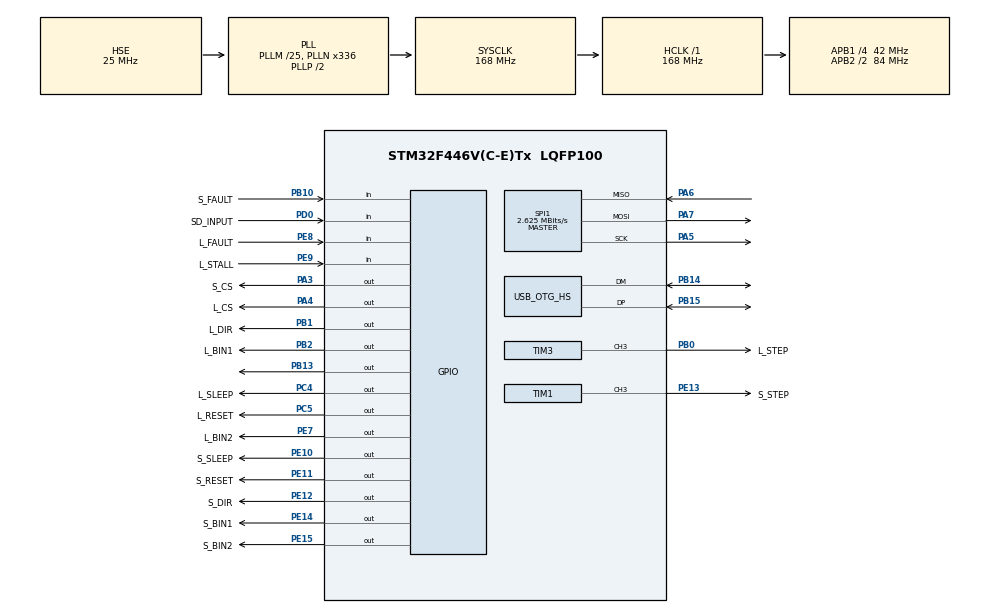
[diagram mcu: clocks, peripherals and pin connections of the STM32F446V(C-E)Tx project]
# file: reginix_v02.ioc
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FATFS._CODE_PAGE=437
FATFS._MAX_SS=4096
FATFS._USE_LFN=3
Mcu.Family=STM32F4
Mcu.Name=STM32F446V(C-E)Tx
Mcu.Package=LQFP100
NVIC.OTG_HS_IRQn=true\:0\:0\:false\:false\:true\:true\:true\:true
NVIC.PriorityGroup=NVIC_PRIORITYGROUP_4
NVIC.TIM3_IRQn=true\:0\:0\:false\:false\:true\:true\:true\:true
PA13.Mode=Serial_Wire
PA13.Signal=SYS_JTMS-SWDIO
PA14.Mode=Serial_Wire
PA14.Signal=SYS_JTCK-SWCLK
PA3.GPIO_Label=S_CS
PA3.GPIO_PuPd=GPIO_PULLUP
PA3.Signal=GPIO_Output
PA4.GPIO_Label=L_CS
PA4.GPIO_PuPd=GPIO_PULLUP
PA4.GPIO_Speed=GPIO_SPEED_FREQ_VERY_HIGH
PA4.PinState=GPIO_PIN_RESET
PA4.Signal=GPIO_Output
PA5.Mode=Full_Duplex_Master
PA5.Signal=SPI1_SCK
PA6.GPIO_PuPd=GPIO_PULLUP
PA6.Mode=Full_Duplex_Master
PA6.Signal=SPI1_MISO
PA7.GPIO_PuPd=GPIO_PULLUP
PA7.Mode=Full_Duplex_Master
PA7.Signal=SPI1_MOSI
PB0.GPIO_Label=L_STEP
PB0.Signal=S_TIM3_CH3
PB1.GPIO_Label=L_DIR
PB1.Signal=GPIO_Output
PB10.GPIO_Label=S_FAULT
PB10.Signal=GPIO_Input
PB13.Signal=GPIO_Output
PB14.Mode=Host_FS
PB14.Signal=USB_OTG_HS_DM
PB15.Mode=Host_FS
PB15.Signal=USB_OTG_HS_DP
PB2.GPIO_Label=L_BIN1
PB2.Signal=GPIO_Output
PC14-OSC32_IN.Mode=LSE-External-Oscillator
PC14-OSC32_IN.Signal=RCC_OSC32_IN
PC15-OSC32_OUT.Mode=LSE-External-Oscillator
PC15-OSC32_OUT.Signal=RCC_OSC32_OUT
PC4.GPIO_Label=L_SLEEP
PC4.GPIO_PuPd=GPIO_PULLUP
PC4.Signal=GPIO_Output
PC5.GPIO_Label=L_RESET
PC5.GPIO_PuPd=GPIO_PULLUP
PC5.Signal=GPIO_Output
PD0.GPIO_Label=SD_INPUT
PD0.Signal=GPIO_Input
PE10.GPIO_Label=S_SLEEP
PE10.Signal=GPIO_Output
PE11.GPIO_Label=S_RESET
PE11.Signal=GPIO_Output
PE12.GPIO_Label=S_DIR
PE12.Signal=GPIO_Output
PE13.GPIO_Label=S_STEP
PE13.Signal=S_TIM1_CH3
PE14.GPIO_Label=S_BIN1
PE14.Signal=GPIO_Output
PE15.GPIO_Label=S_BIN2
PE15.Signal=GPIO_Output
PE7.GPIO_Label=L_BIN2
PE7.Signal=GPIO_Output
PE8.GPIO_Label=L_FAULT
PE8.GPIO_PuPd=GPIO_PULLUP
PE8.Signal=GPIO_Input
PE9.GPIO_Label=L_STALL
PE9.Signal=GPIO_Input
PH0-OSC_IN.Mode=HSE-External-Oscillator
PH0-OSC_IN.Signal=RCC_OSC_IN
PH1-OSC_OUT.Mode=HSE-External-Oscillator
PH1-OSC_OUT.Signal=RCC_OSC_OUT
ProjectManager.HeapSize=0x2000
ProjectManager.StackSize=0x4000
ProjectManager.TargetToolchain=STM32CubeIDE
RCC.AHBFreq_Value=168000000
RCC.APB1CLKDivider=RCC_HCLK_DIV4
RCC.APB1Freq_Value=42000000
RCC.APB1TimFreq_Value=84000000
RCC.APB2CLKDivider=RCC_HCLK_DIV2
RCC.APB2Freq_Value=84000000
RCC.APB2TimFreq_Value=168000000
RCC.CortexFreq_Value=168000000
RCC.HCLKFreq_Value=168000000
RCC.PLLM=25
RCC.PLLN=336
RCC.PLLQ=7
RCC.PLLSourceVirtual=RCC_PLLSOURCE_HSE
RCC.RCC_RTC_Clock_SourceVirtual=RCC_RTCCLKSOURCE_LSE
RCC.SYSCLKFreq_VALUE=168000000
RCC.SYSCLKSource=RCC_SYSCLKSOURCE_PLLCLK
RCC.USBFreq_Value=48000000
RCC.VCOOutputFreq_Value=336000000
RTC.HourFormat=RTC_HOURFORMAT_12
SH.S_TIM1_CH3.0=TIM1_CH3,PWM Generation3 CH3
SH.S_TIM3_CH3.0=TIM3_CH3,PWM Generation3 CH3
SPI1.BaudRatePrescaler=SPI_BAUDRATEPRESCALER_32
SPI1.CalculateBaudRate=2.625 MBits/s
SPI1.Direction=SPI_DIRECTION_2LINES
SPI1.Mode=SPI_MODE_MASTER
SPI1.VirtualType=VM_MASTER
TIM1.Channel-PWM\ Generation3\ CH3=TIM_CHANNEL_3
TIM1.Period=1000-1
TIM1.Prescaler=60-1
TIM3.AutoReloadPreload=TIM_AUTORELOAD_PRELOAD_ENABLE
TIM3.Channel-PWM\ Generation3\ CH3=TIM_CHANNEL_3
TIM3.Period=999
TIM3.Prescaler=83
TIM3.TIM_MasterOutputTrigger=TIM_TRGO_UPDATE
USB_HOST.BSP.number=1
USB_HOST.USBH_HandleTypeDef-MSC_HS=hUsbHostHS
USB_HOST.USBH_MAX_DATA_BUFFER-MSC_HS=4096
USB_HOST.VirtualModeHS=Msc
USB_HOST0.BSP.STBoard=false
USB_HOST0.BSP.api=Unknown
USB_HOST0.BSP.condition=SW_VBUS_DRIVE_MSC_HS \= false
USB_HOST0.BSP.instance=PB13
USB_HOST0.BSP.ip=GPIO
USB_HOST0.BSP.mode=Output
USB_HOST0.BSP.name=Drive_VBUS_HS
USB_HOST0.BSP.solution=PB13
USB_OTG_HS.VirtualMode-Host_FS=Host_FS
VP_FATFS_VS_USB.Mode=USB
VP_RTC_VS_RTC_Activate.Mode=RTC_Enabled
VP_TIM3_VS_ClockSourceINT.Mode=Internal
VP_TIM6_VS_ClockSourceINT.Mode=Enable_Timer
VP_USB_HOST_VS_USB_HOST_MSC_HS.Mode=MSC_HS
board=custom

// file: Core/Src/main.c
/* USER CODE BEGIN Header */
///**
// ******************************************************************************
// * @file           : main.c
// * @brief          : Main program body
// ******************************************************************************
// * @attention
// *
// * Copyright (c) 2026 STMicroelectronics.
// * All rights reserved.
// *
// * This software is licensed under terms that can be found in the LICENSE file
// * in the root directory of this software component.
// * If no LICENSE file comes with this software, it is provided AS-IS.
// *
// ******************************************************************************
// */
/* USER CODE END Header */
#include "main.h"
#include "fatfs.h"
#include "rtc.h"
#include "spi.h"
#include "tim.h"
#include "usb_host.h"
#include "gpio.h"

/* USER CODE BEGIN Includes */
#include "mDRV_Config.h"
//#include "usb_log.h"
/* USER CODE END Includes */

/* USER CODE BEGIN PTD */
//
/* USER CODE END PTD */

/* USER CODE BEGIN PD */
//
/* USER CODE END PD */

/* USER CODE BEGIN PM */
//#define DRV_CS_LOW()   HAL_GPIO_WritePin(L_CS_GPIO_Port, L_CS_Pin, GPIO_PIN_RESET)
//#define DRV_CS_HIGH()  HAL_GPIO_WritePin(L_CS_GPIO_Port, L_CS_Pin, GPIO_PIN_SET)
/* USER CODE END PM */

/* USER CODE BEGIN PV */
//uint8_t txBuf[2];
//uint8_t rxBuf[2];
//
////uint8_t tx[2];
////   uint8_t rx[2];
//
//uint16_t tx;
//uint16_t rx;
//
//GPIO_PinState fault_state;
ApplicationTypeDef ret;
extern ApplicationTypeDef Appli_state;
//HAL_StatusTypeDef i2c_status;
////uint8_t tx[2] = {0x00,0x00};
//
//uint32_t spi_error;
//uint32_t count = 0;
//GPIO_PinState sleep_state;
//GPIO_PinState reset_state;
//GPIO_PinState cs_state;
//uint16_t duty = 0;
//uint8_t tx_data[3];
//uint8_t mem_addr[2] = {0x00, 0x00};
//uint8_t read_data = 0;
//uint8_t limit_reached=0;
//RTC_TimeTypeDef getTime;
//RTC_DateTypeDef getDate;
//uint8_t rtc_sec;
//uint8_t usb_rx_buffer[64];
//char usb_string[64];
//uint32_t usb_rx_length;
uint8_t fault_state;
uint16_t ctrl_reg,status_reg;
uint16_t status_value = 0;
uint16_t ctrl_value = 0;
uint8_t motor_running = 0;
//
uint8_t drv_status;
uint8_t drv_cont;

uint16_t ctrl_readback;
uint8_t stattt=0;
uint8_t enbl, rdir, rstep, mode, exstall, isgain, dtime;
uint32_t fre;
volatile uint32_t debug_tim3_psc;
volatile uint32_t debug_tim3_arr;
volatile uint32_t debug_tim3_ccr3;
volatile uint32_t debug_tim3_cnt;

volatile uint32_t debug_pclk1;
volatile uint32_t debug_sysclk;

 uint8_t sd_ins;
//uint8_t spi_buf_rx[3]={0};
//uint16_t dataOut;
// volatile uint16_t test_write_val = 0x0FF;
//  volatile uint16_t test_read_val  = 0;
//  volatile uint8_t  spi_test_pass  = 0;
/* USER CODE END PV */

void SystemClock_Config(void);
void MX_USB_HOST_Process(void);

/* USER CODE BEGIN PFP */
//
/* USER CODE END PFP */

/* USER CODE BEGIN 0 */
void delay_us(uint16_t us)
{
	__HAL_TIM_SET_COUNTER(&htim6, 0);

	while (__HAL_TIM_GET_COUNTER(&htim6) < us);
}

#define TIM3_CLK 60000000UL
void Stepper_SetFrequency_L(uint32_t freq)
{
    uint32_t timer_clk = 84000000UL;
    uint32_t counter_clk;
    uint32_t arr;

    if (freq == 0)
    {
        TIM3->CCR3 = 0;
        return;
    }

    counter_clk = timer_clk / (TIM3->PSC + 1);

    arr = (counter_clk / freq) - 1;

    if (arr > 0xFFFF)
        arr = 0xFFFF;

    if (arr < 1)
        arr = 1;

    TIM3->ARR = arr;

    TIM3->CCR3 = (arr + 1) / 2;

    TIM3->CNT = 0;

    TIM3->EGR = TIM_EGR_UG;
}
void Stepper_SetFrequency_S(uint32_t freq)
{
	uint32_t arr;

	if (freq == 0)
	{
		TIM1->CCR3 = 0;
		return;
	}

	// TIM1 on APB2 → 84 MHz
	arr = (84000UL / freq) - 1;

	if (arr > 0xFFFF) arr = 0xFFFF;
	if (arr < 1) arr = 1;

	TIM1->ARR  = arr;
	TIM1->CCR3 = (arr + 1) / 2;   // 50% duty
	TIM1->CNT  = 0;

	TIM1->EGR = TIM_EGR_UG;
}
//void Stepper_SetFrequency_S(uint32_t frequency)
//{
//    uint32_t period;
//
//    if (frequency == 0)
//        return;
//
//    period = 1000000UL / frequency;
//
//    __HAL_TIM_SET_AUTORELOAD(&htim3, period - 1);
//
//    __HAL_TIM_SET_COMPARE(&htim3,
//                          TIM_CHANNEL_3,
//                          period / 2);
//
//    __HAL_TIM_SET_COUNTER(&htim3, 0);
//}
#define STEPS_PER_REV 1600

void SetRPM(uint16_t rpm)
{
	uint32_t freq;

	freq = ((uint32_t)rpm * STEPS_PER_REV) / 60;

	Stepper_SetFrequency(freq);
}
//// Add this function to your main.c (replace the existing one)
void DRV8711_WriteReg(uint8_t reg, uint16_t data,uint8_t stepper)
{
	uint16_t cmd;
	uint8_t tx[2];
	GPIO_TypeDef* port;
	uint16_t pin;
	cmd = ((reg & 0x07) << 12) | (data & 0x0FFF);

	tx[0] = (cmd >> 8) & 0xFF;
	tx[1] = cmd & 0xFF;

	switch(stepper){
	case 0:
	port=L_CS_GPIO_Port;
	 pin =L_CS_Pin;
	 break;
	case 1:
		 port=S_CS_GPIO_Port;
		 pin =S_CS_Pin;
    break;
	}
	HAL_GPIO_WritePin(port, pin, GPIO_PIN_SET);
	HAL_Delay(1);

	HAL_SPI_Transmit(&hspi1, tx, 2, 100);
	HAL_Delay(1);
	HAL_GPIO_WritePin(port, pin, GPIO_PIN_RESET);
}
uint16_t DRV8711_ReadReg(uint8_t reg,uint8_t stepper)
{
	uint16_t cmd;
	uint16_t data;
	uint8_t tx[2];
	uint8_t rx[2];
	GPIO_TypeDef* port;
	uint16_t pin;
	cmd = 0x8000 | ((reg & 0x07) << 12);

	tx[0] = (cmd >> 8) & 0xFF;
	tx[1] = cmd & 0xFF;
	switch(stepper){
		case 0:
		port=L_CS_GPIO_Port;
		 pin =L_CS_Pin;
		 break;
		case 1:
			 port=S_CS_GPIO_Port;
			 pin =S_CS_Pin;
	    break;
		}
	HAL_GPIO_WritePin(port, pin, GPIO_PIN_SET);

	HAL_SPI_TransmitReceive(&hspi1, tx, rx, 2, 100);

	HAL_GPIO_WritePin(port, pin, GPIO_PIN_RESET);

	data = ((uint16_t)rx[0] << 8) | rx[1];

	return (data & 0x0FFF);
}

uint16_t ctrl,stall;
uint32_t freq;
uint32_t curr;

volatile uint8_t sd_raw = 99;
volatile uint32_t sd_count = 0;
/* USER CODE END 0 */

int main(void)
{

  /* USER CODE BEGIN 1 */
	//
  /* USER CODE END 1 */

  /* MCU Configuration--------------------------------------------------------*/

  /* Reset of all peripherals, Initializes the Flash interface and the Systick. */
  HAL_Init();

  /* USER CODE BEGIN Init */
	//
	//
  /* USER CODE END Init */

  /* Configure the system clock */
  SystemClock_Config();

  /* USER CODE BEGIN SysInit */
	//
  /* USER CODE END SysInit */

  /* Initialize all configured peripherals */
  MX_GPIO_Init();
  MX_TIM6_Init();
  MX_RTC_Init();
  MX_FATFS_Init();
  MX_USB_HOST_Init();
  MX_SPI1_Init();
  MX_TIM3_Init();
  MX_TIM1_Init();
  /* USER CODE BEGIN 2 */

//	HAL_TIM_Base_Start(&htim6);
//	HAL_GPIO_WritePin(L_RESET_GPIO_Port, L_RESET_Pin, GPIO_PIN_RESET);
//	HAL_GPIO_WritePin(L_SLEEP_GPIO_Port, L_SLEEP_Pin, GPIO_PIN_SET);
//
//	HAL_GPIO_WritePin(S_RESET_GPIO_Port, S_RESET_Pin, GPIO_PIN_RESET);
//	HAL_GPIO_WritePin(S_SLEEP_GPIO_Port, S_SLEEP_Pin, GPIO_PIN_SET);
//
//	HAL_TIM_PWM_Start(&htim3,TIM_CHANNEL_3 );
//	HAL_TIM_PWM_Start(&htim1,TIM_CHANNEL_3 );
//
//
//	HAL_GPIO_WritePin(L_SLEEP_GPIO_Port, L_SLEEP_Pin, GPIO_PIN_RESET);
//	HAL_Delay(1000);
//
//	DRV8711_WriteReg(0x00, 0x0C29,0);
//	DRV8711_WriteReg(0x01, 0x0743,0);//current
//	DRV8711_WriteReg(0x02, 0x00C8,0);
//	DRV8711_WriteReg(0x03, 0x0128,0);
//	DRV8711_WriteReg(0x04, 0x0510,0);
//	DRV8711_WriteReg(0x05, 0x000A,0);
//	DRV8711_WriteReg(0x06, 0x0BAA,0);
//	DRV8711_WriteReg(0x07,0x00,0);
//
//	HAL_GPIO_WritePin(L_SLEEP_GPIO_Port, L_SLEEP_Pin, GPIO_PIN_SET);
//	HAL_Delay(1000);
//	DRV8711_WriteReg(0x07,0x00,0);
//
//
//	HAL_Delay(500);
//
//	HAL_GPIO_WritePin(S_SLEEP_GPIO_Port, S_SLEEP_Pin, GPIO_PIN_RESET);
//	HAL_Delay(1000);
//
//	DRV8711_WriteReg(0x00, 0x0C29,1);
//	DRV8711_WriteReg(0x01, 0x070A,1);//current
//	DRV8711_WriteReg(0x02, 0x00C8,1);
//	DRV8711_WriteReg(0x03, 0x0128,1);
//	DRV8711_WriteReg(0x04, 0x0510,1);
//	DRV8711_WriteReg(0x05, 0x000A,1);
//	DRV8711_WriteReg(0x06, 0x0BAA,1);
//	DRV8711_WriteReg(0x07,0x00,1);
//
//	HAL_GPIO_WritePin(S_SLEEP_GPIO_Port, S_SLEEP_Pin, GPIO_PIN_SET);
//	HAL_Delay(1000);
//	DRV8711_WriteReg(0x07,0x00,1);
//	HAL_TIM_PWM_Start(&htim3, TIM_CHANNEL_3);
//
//	Stepper_SetFrequency_L(3200);
//
//	debug_tim3_psc  = TIM3->PSC;
//	debug_tim3_arr  = TIM3->ARR;
//	debug_tim3_ccr3 = TIM3->CCR3;
//	debug_tim3_cnt  = TIM3->CNT;
//

  /* USER CODE END 2 */

  /* Infinite loop */
  /* USER CODE BEGIN WHILE */
	//
	while (1)
	{

//		for( freq = 1; freq <= 3200; freq++)
//		{
//			Stepper_SetFrequency_L(freq);
//						Stepper_SetFrequency_S(freq);
//						curr=DRV8711_ReadReg(0x01 ,0);
//			//			stall=HAL_GPIO_ReadPin(L_STALL_GPIO_Port, L_STALL_Pin);
//			HAL_Delay(5);
//		}
//		HAL_Delay(5000);
//
//		for( freq = 3200; freq > 1; freq--)
//		{
//			Stepper_SetFrequency_L(freq);
//						Stepper_SetFrequency_S(freq);
//						curr=DRV8711_ReadReg(0x01 ,0);
//			//			stall=HAL_GPIO_ReadPin(L_STALL_GPIO_Port, L_STALL_Pin);
//			HAL_Delay(5);
//		}

		//
		//		ctrl_readback = DRV8711_ReadReg(0x00);
		//
		//		enbl    = (ctrl_readback >> 0)  & 0x0;   // 1 bit
		//		rdir    = (ctrl_readback >> 1)  & 0x1;   // 1 bit
		//		rstep   = (ctrl_readback >> 2)  & 0x1;   // 1 bit
		//		mode    = (ctrl_readback >> 3)  & 0xF;   // 4 bits (bits 6:3)
		//		exstall = (ctrl_readback >> 7)  & 0x1;   // 1 bit
		//		isgain  = (ctrl_readback >> 8)  & 0x3;   // 2 bits (bits 9:8)
		//		dtime   = (ctrl_readback >> 10) & 0x3;   // 2 bits (bits 11:10)
		//		fault_state=HAL_GPIO_ReadPin(L_FAULT_GPIO_Port, L_FAULT_Pin);
		//        status_value=DRV8711_ReadReg(0x07);
		//		   HAL_GPIO_WritePin(L_STEP_GPIO_Port, L_STEP_Pin, GPIO_PIN_SET);
		//		    HAL_Delay(1);   // pulse high time
		//		    HAL_GPIO_WritePin(L_STEP_GPIO_Port, L_STEP_Pin, GPIO_PIN_RESET);
		//		    HAL_Delay(1);
		//		stall=HAL_GPIO_ReadPin(L_STALL_GPIO_Port, L_STALL_Pin);
		//		    HAL_GPIO_WritePin(L_STEP_GPIO_Port, L_STEP_Pin, GPIO_PIN_SET);
		//		    		    HAL_Delay(1);
		//		    HAL_GPIO_WritePin(L_STEP_GPIO_Port, L_STEP_Pin, GPIO_PIN_RESET);
		//		    		    HAL_Delay(1);
		//
		// Wait between steps - THIS controls motor speed
		// Try different values:
		//		    HAL_Delay(10);
		//
				 if(ret != FR_OK)
						    {
						        if(Appli_state == APPLICATION_READY)
						        {
						            ret = USB_CSV_Init();

						            if(ret == FR_OK)
						            {
						                USB_Get_Info();
						            }
						        }
						    }
						    else
						    {
						        USB_CSV_Write(12.5, 0.8);

						        HAL_Delay(100);
						    }

						    MX_USB_HOST_Process();
		//
		//		//		while (1)
		//		//		{
		//		////			uint8_t msg[] = "Hello PC\r\n";
		//		////
		//		////			CDC_Transmit_FS(msg,sizeof(msg)-1);
		//		////
		//		////			HAL_Delay(1000);
		//		//
		//		//

    /* USER CODE END WHILE */
    MX_USB_HOST_Process();

    /* USER CODE BEGIN 3 */
//				    if (Appli_state == APPLICATION_READY)
//				    {
//				    	 ret=f_mount(&USBHFatFS, USBHPath, 1) ;
//				        if (ret == FR_OK)
//				        {
//				            // Open/create log.csv
//				            break;
//				        }
//				    }
	}
  /* USER CODE END 3 */
}

void SystemClock_Config(void)
{
  RCC_OscInitTypeDef RCC_OscInitStruct = {0};
  RCC_ClkInitTypeDef RCC_ClkInitStruct = {0};

  /** Configure the main internal regulator output voltage
  */
  __HAL_RCC_PWR_CLK_ENABLE();
  __HAL_PWR_VOLTAGESCALING_CONFIG(PWR_REGULATOR_VOLTAGE_SCALE1);

  /** Initializes the RCC Oscillators according to the specified parameters
  * in the RCC_OscInitTypeDef structure.
  */
  RCC_OscInitStruct.OscillatorType = RCC_OSCILLATORTYPE_HSE|RCC_OSCILLATORTYPE_LSE;
  RCC_OscInitStruct.HSEState = RCC_HSE_ON;
  RCC_OscInitStruct.LSEState = RCC_LSE_ON;
  RCC_OscInitStruct.PLL.PLLState = RCC_PLL_ON;
  RCC_OscInitStruct.PLL.PLLSource = RCC_PLLSOURCE_HSE;
  RCC_OscInitStruct.PLL.PLLM = 25;
  RCC_OscInitStruct.PLL.PLLN = 336;
  RCC_OscInitStruct.PLL.PLLP = RCC_PLLP_DIV2;
  RCC_OscInitStruct.PLL.PLLQ = 7;
  RCC_OscInitStruct.PLL.PLLR = 2;
  if (HAL_RCC_OscConfig(&RCC_OscInitStruct) != HAL_OK)
  {
    Error_Handler();
  }

  /** Initializes the CPU, AHB and APB buses clocks
  */
  RCC_ClkInitStruct.ClockType = RCC_CLOCKTYPE_HCLK|RCC_CLOCKTYPE_SYSCLK
                              |RCC_CLOCKTYPE_PCLK1|RCC_CLOCKTYPE_PCLK2;
  RCC_ClkInitStruct.SYSCLKSource = RCC_SYSCLKSOURCE_PLLCLK;
  RCC_ClkInitStruct.AHBCLKDivider = RCC_SYSCLK_DIV1;
  RCC_ClkInitStruct.APB1CLKDivider = RCC_HCLK_DIV4;
  RCC_ClkInitStruct.APB2CLKDivider = RCC_HCLK_DIV2;

  if (HAL_RCC_ClockConfig(&RCC_ClkInitStruct, FLASH_LATENCY_5) != HAL_OK)
  {
    Error_Handler();
  }
}

/* USER CODE BEGIN 4 */
// Add this function to your code

/* USER CODE END 4 */

void Error_Handler(void)
{
  /* USER CODE BEGIN Error_Handler_Debug */
	//	/* User can add his own implementation to report the HAL error return state */
	//	__disable_irq();
	//	while (1)
	//	{
	//	}
  /* USER CODE END Error_Handler_Debug */
}
#ifdef USE_FULL_ASSERT
/**
  * @brief  Reports the name of the source file and the source line number
  *         where the assert_param error has occurred.
  * @param  file: pointer to the source file name
  * @param  line: assert_param error line source number
  * @retval None
  */
void assert_failed(uint8_t *file, uint32_t line)
{
  /* USER CODE BEGIN 6 */
	//	/* User can add his own implementation to report the file name and line number,
	//     ex: printf("Wrong parameters value: file %s on line %d\r\n", file, line) */
  /* USER CODE END 6 */
}
#endif /* USE_FULL_ASSERT */
